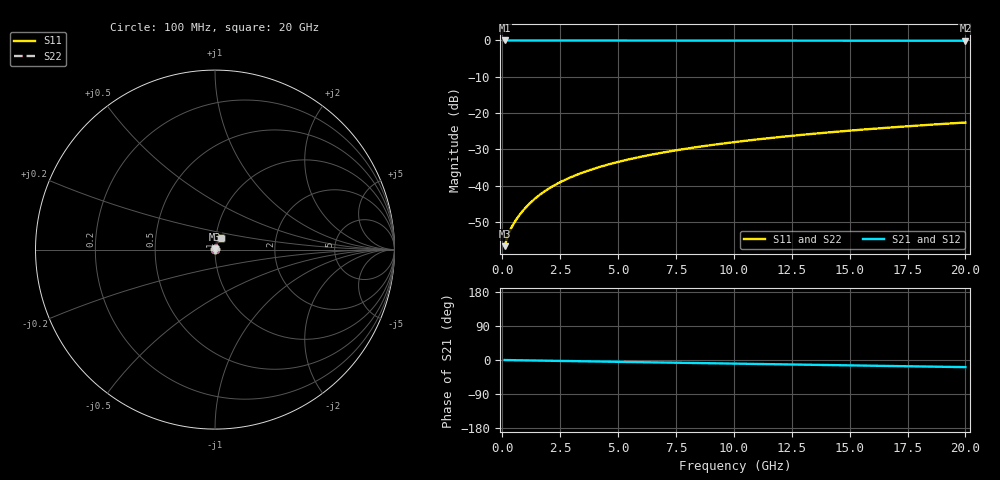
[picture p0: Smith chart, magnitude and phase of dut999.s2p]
! Touchstone file exported from HFSS 2026.1.0
!  File:  C:/ffzhzh/LocalFiles/Ansys_Project_Files/temp_train_TMRDL_999_1783159517_43440.aedt
!  Generated:  06:06:24 PM Jul  4, 2026
!  Design:  TMRDL
!  Project:  temp_train_TMRDL_999_1783159517_43440
! Variables:
!  h_bsmrdl = 2um
!  h_ox = 20um
!  h_rdl = 5um
!  h_sub = 80um
!  h_tmrdl = 4.27um
!  h_tsv = 80um
!  h_via = 3um
!  l_bsmrdl = 300um
!  l_sub = 712.69um
!  l_tmrdl = 312.69um
!  m_sub = 200um
!  pitch = 32.19um
!  r_tsv = 6um
!  s_tmrdl = 10um
!  w_bsmrdl = 18um
!  w_sub = 500um
!  w_tmrdl = 23.67um
!  x_tsv_center1 = 324.525um
!  x_tsv_center2 = 642.525um
!  x_tsv_center3 = 978.885um
!  x_tsv_center4 = 1296.885um
!  x_tsv_center5 = 1633.245um
!  x_tsv_center6 = 1951.245um
# GHz S MA R 50.000000
! Terminal data exported
! Port[1] = TM_RDL1_1_T1
! Port[2] = TM_RDL1_1_T2
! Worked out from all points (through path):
!   200 points, 100 MHz to 20 GHz, reference 50 ohm
!   highest |S21| = -0.01 dB at 100 MHz (marker M1); lowest = -0.1 dB at 20 GHz (marker M2)
!   group delay of S21, straight-line fit = 2.61 ps
!   lowest |S11| = -56.7 dB at 100 MHz (marker M3), VSWR 1.00, Z = 50.1 + j0.0636 ohm
!   |S11| at or under -10 dB: start of sweep to end of sweep
!   |S22| runs from -56.7 to -22.6 dB; largest |S21 - S12| = 3.5e-15
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0.1  0.001464 25.7  0.9987 -0.1  0.9987 -0.1  0.001464 25.7
! Gamma 0 0 0 0
! Port Impedance 50 0 50 0
0.2  0.001875 38.6  0.9985 -0.2  0.9985 -0.2  0.001875 38.6
0.3  0.002278 45.5  0.9984 -0.3  0.9984 -0.3  0.002278 45.5
0.4  0.002656 50.3  0.9983 -0.4  0.9983 -0.4  0.002656 50.3
0.5  0.003024 54.2  0.9982 -0.5  0.9982 -0.5  0.003024 54.2
0.8  0.004154 62.5  0.9981 -0.8  0.9981 -0.8  0.004154 62.5
1  0.004941 66.1  0.9981 -1.0  0.9981 -1.0  0.004941 66.1
1.2  0.005748 68.7  0.998 -1.2  0.998 -1.2  0.005748 68.7
1.4  0.006568 70.6  0.9979 -1.4  0.9979 -1.4  0.006568 70.6
1.7  0.007812 72.6  0.9978 -1.7  0.9978 -1.7  0.007812 72.6
2.2  0.009895 74.4  0.9977 -2.2  0.9977 -2.2  0.009895 74.4
2.8  0.01238 75.5  0.9974 -2.7  0.9974 -2.7  0.01238 75.5
3.5  0.01524 75.9  0.9971 -3.4  0.9971 -3.4  0.01524 75.9
4.2  0.01804 75.9  0.9967 -4.1  0.9967 -4.1  0.01804 75.9
5  0.02118 75.6  0.9963 -4.8  0.9963 -4.8  0.02118 75.6
5.9  0.02463 75.2  0.9958 -5.7  0.9958 -5.7  0.02463 75.2
6.8  0.02802 74.6  0.9953 -6.5  0.9953 -6.5  0.02802 74.6
8.3  0.03354 73.7  0.9946 -7.9  0.9946 -7.9  0.03354 73.7
10.1  0.04003 72.5  0.9937 -9.6  0.9937 -9.6  0.04003 72.5
13.4  0.05164 70.2  0.9923 -12.7  0.9923 -12.7  0.05164 70.2
16.7  0.06296 67.7  0.9908 -15.8  0.9908 -15.8  0.06297 67.7
20  0.074 65.1  0.9894 -18.8  0.9894 -18.8  0.074 65.1
